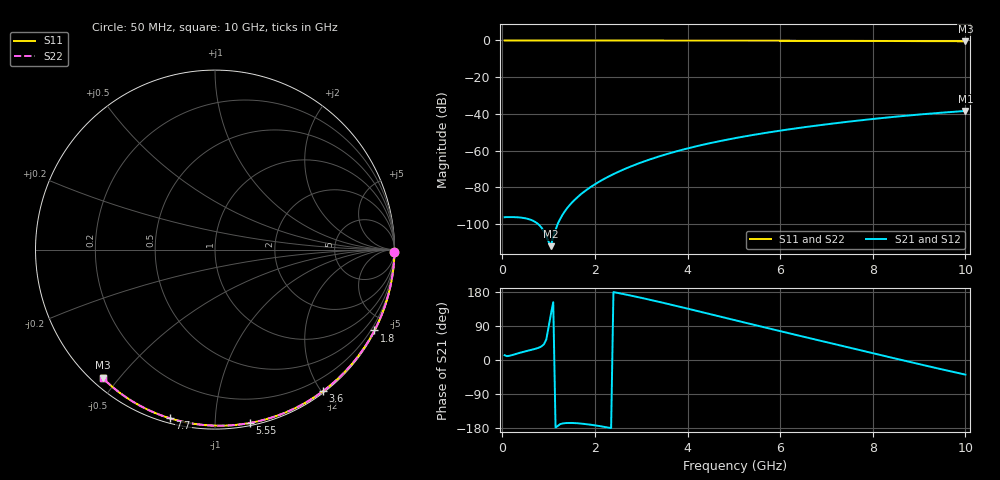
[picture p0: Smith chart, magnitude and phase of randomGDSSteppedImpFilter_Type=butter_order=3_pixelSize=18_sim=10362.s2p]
! freq	dB(S11)	phase(S11)	dB(S12)	phase(S12)
!  dB(S21)	phase(S21)	dB(S22)	phase(S22)
!S-par simulation data
#  GHz  S  DB  R 50
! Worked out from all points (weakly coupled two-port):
!   200 points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, 50 MHz to 10 GHz, reference 50 ohm
!   highest |S21| = -38.41 dB at 10 GHz (marker M1); lowest = -112.1 dB at 1.05 GHz (marker M2)
!   lowest |S11| = -0.4 dB at 10 GHz (marker M3), VSWR 39.25, Z = 1.54 - j22.6 ohm
!   |S11| at or under -10 dB: nowhere
!   |S22| runs from -0.4 to 0.0 dB; largest |S21 - S12| = 0
!   S11 on the Smith chart (normalised r, x): 50 MHz: open; 1.8 GHz: 0.04, -4.18; 3.6 GHz: 0.02, -2.02; 5.55 GHz: 0.02, -1.22; 7.7 GHz: 0.02, -0.77; 10 GHz: 0.03, -0.45
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0.05  -0.00 -0.8  -96.33 12.6  -96.33 12.6  -0.00 -0.8
0.55  -0.01 -8.3  -97.20 24.5  -97.20 24.5  -0.01 -8.3
1.05  -0.02 -15.8  -112.09 121.1  -112.09 121.1  -0.02 -15.8
1.75  -0.03 -26.2  -82.74 -168.4  -82.74 -168.4  -0.03 -26.2
1.8  -0.03 -26.9  -81.78 -169.1  -81.78 -169.1  -0.03 -26.9
1.9  -0.04 -28.4  -80.00 -170.7  -80.00 -170.7  -0.04 -28.4
2.05  -0.04 -30.5  -77.59 -173.4  -77.59 -173.4  -0.04 -30.5
2.2  -0.04 -32.7  -75.43 -176.4  -75.43 -176.4  -0.04 -32.7
2.55  -0.05 -37.8  -71.06 175.6  -71.06 175.6  -0.05 -37.8
2.95  -0.06 -43.5  -66.94 165.4  -66.94 165.4  -0.06 -43.5
3.4  -0.07 -49.8  -63.08 153.0  -63.08 153.0  -0.07 -49.8
3.6  -0.07 -52.6  -61.56 147.3  -61.56 147.3  -0.07 -52.6
3.9  -0.08 -56.7  -59.48 138.5  -59.48 138.5  -0.08 -56.7
4.3  -0.09 -62.2  -57.01 126.7  -57.01 126.7  -0.09 -62.2
5.05  -0.11 -72.1  -53.11 104.3  -53.11 104.3  -0.11 -72.1
5.55  -0.13 -78.6  -50.92 89.4  -50.92 89.4  -0.13 -78.6
6.1  -0.15 -85.5  -48.77 73.3  -48.77 73.3  -0.15 -85.5
6.7  -0.18 -92.9  -46.67 55.7  -46.67 55.7  -0.18 -92.9
7.7  -0.24 -104.9  -43.61 26.7  -43.61 26.7  -0.24 -104.9
8.35  -0.29 -112.5  -41.89 7.8  -41.89 7.8  -0.29 -112.5
9.15  -0.36 -121.7  -40.04 -15.1  -40.04 -15.1  -0.36 -121.7
10  -0.44 -131.3  -38.41 -38.6  -38.41 -38.6  -0.44 -131.3
